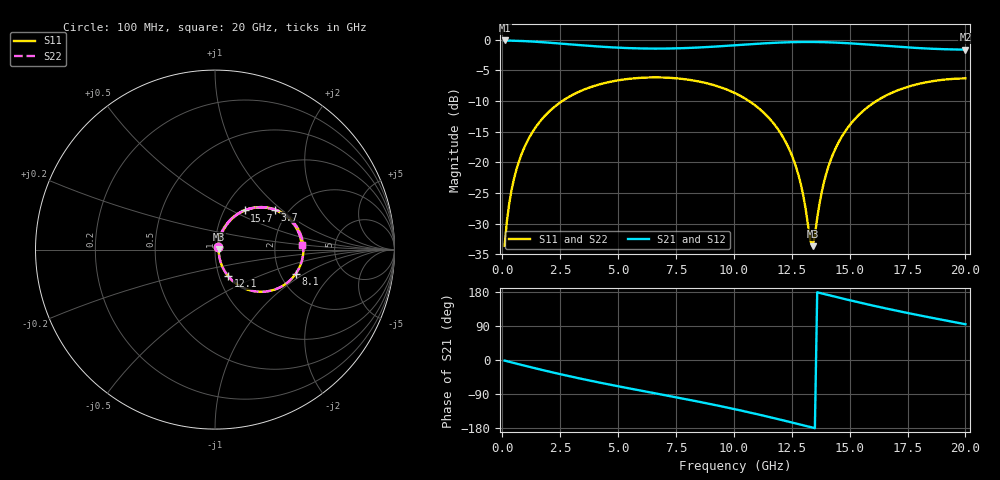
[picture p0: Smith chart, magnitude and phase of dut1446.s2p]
! Touchstone file exported from HFSS 2026.1.0
!  File:  C:/ffzhzh/LocalFiles/Ansys_Project_Files/temp_train_TSV_RDL_1446_1783358350_46376.aedt
!  Generated:  01:32:22 AM Jul  7, 2026
!  Design:  TSV_RDL
!  Project:  temp_train_TSV_RDL_1446_1783358350_46376
! Variables:
!  h_bsmrdl = 5.32um
!  h_ox = 20um
!  h_rdl = 5um
!  h_sub = 94.75um
!  h_tmrdl = 4.06um
!  h_tsv = 94.75um
!  h_via = 3um
!  l_bsmrdl = 526.95um
!  l_sub = 4394.41um
!  l_tmrdl = 567.33um
!  m_sub = 200um
!  pitch = 51.69um
!  r_tsv = 8.36um
!  s_tmrdl = 10um
!  w_bsmrdl = 21.78um
!  w_sub = 500um
!  w_tmrdl = 26.3um
!  x_tsv_center1 = 580.48um
!  x_tsv_center2 = 1129.21um
!  x_tsv_center3 = 1722.84um
!  x_tsv_center4 = 2271.57um
!  x_tsv_center5 = 2865.2um
!  x_tsv_center6 = 3413.93um
# GHz S MA R 50.000000
! Terminal data exported
! Port[1] = TM_RDL1_1_T1
! Port[2] = TM_RDL5_1_T1
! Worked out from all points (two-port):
!   200 points, 100 MHz to 20 GHz, reference 50 ohm
!   highest |S21| = -0.13 dB at 100 MHz (marker M1); lowest = -1.6 dB at 20 GHz (marker M2)
!   |S21| within 3 dB of the highest: start of sweep to end of sweep
!   lowest |S11| = -33.7 dB at 13.4 GHz (marker M3), VSWR 1.04, Z = 52.1 + j0.252 ohm
!   |S11| at or under -10 dB: start of sweep to 2.592 GHz; 10.65 GHz to 16.16 GHz (5.506 GHz wide, 41.1 % of centre)
!   |S22| runs from -33.7 to -6.1 dB; largest |S21 - S12| = 2.1e-14
!   S11 on the Smith chart (normalised r, x): 100 MHz: 1.03, +0.03; 3.7 GHz: 1.71, +0.91; 8.1 GHz: 2.43, -0.84; 12.1 GHz: 1.10, -0.33; 15.7 GHz: 1.24, +0.59; 20 GHz: 2.86, +0.20
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0.1  0.02084 45.0  0.9856 -1.6  0.9856 -1.6  0.02084 45.0
! Gamma 0 0 0 0
! Port Impedance 50 0 50 0
0.3  0.04619 65.1  0.9832 -4.8  0.9832 -4.8  0.04619 65.1
0.5  0.07263 68.8  0.9808 -7.9  0.9808 -7.9  0.07263 68.8
1.1  0.1509 65.9  0.9702 -17.0  0.9702 -17.0  0.1509 65.9
2.1  0.2675 53.9  0.943 -31.7  0.943 -31.7  0.2675 53.9
3.5  0.3897 36.1  0.8981 -50.7  0.8981 -50.7  0.3897 36.1
3.7  0.403 33.6  0.8921 -53.3  0.8921 -53.3  0.403 33.6
6.8  0.4923 -2.0  0.8459 -90.2  0.8459 -90.2  0.4923 -2.0
8.1  0.4699 -16.6  0.857 -105.5  0.857 -105.5  0.4699 -16.6
10.1  0.3627 -40.2  0.9018 -130.6  0.9018 -130.6  0.3627 -40.2
11.2  0.2634 -53.8  0.9308 -145.7  0.9308 -145.7  0.2634 -53.8
12.1  0.1631 -63.8  0.9493 -158.8  0.9493 -158.8  0.1631 -63.8
12.8  0.07765 -65.9  0.9571 -169.3  0.9571 -169.3  0.07764 -65.9
13  0.05336 -61.5  0.958 -172.3  0.958 -172.3  0.05335 -61.5
13.3  0.02308 -25.6  0.9582 -176.9  0.9582 -176.9  0.02304 -25.7
13.4  0.02071 6.7  0.958 -178.4  0.958 -178.4  0.02066 6.7
13.8  0.05774 63.2  0.9554 175.6  0.9554 175.6  0.05772 63.2
14.2  0.1065 67.0  0.9504 169.6  0.9504 169.6  0.1064 67.1
14.8  0.1779 62.9  0.939 160.7  0.939 160.7  0.1779 62.9
15.7  0.2739 52.7  0.9157 147.9  0.9157 147.9  0.2739 52.7
16.7  0.3599 40.7  0.8867 134.4  0.8867 134.4  0.3599 40.7
20  0.4835 3.2  0.8302 94.4  0.8302 94.4  0.4835 3.2
